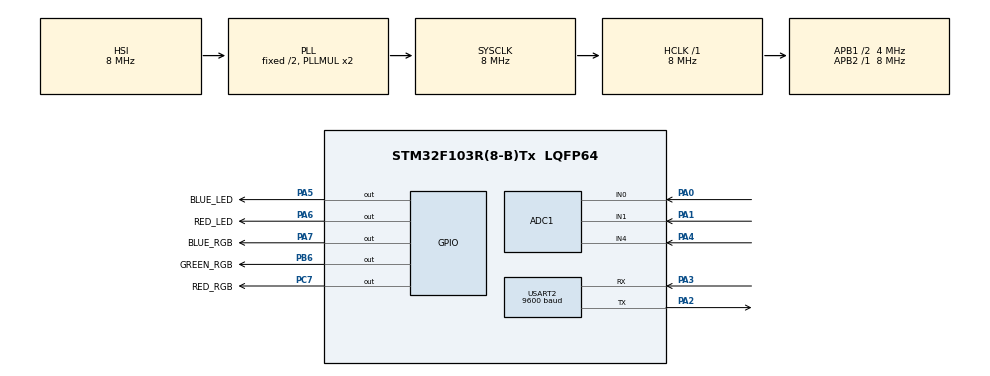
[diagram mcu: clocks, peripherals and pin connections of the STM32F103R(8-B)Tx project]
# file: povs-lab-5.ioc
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ADC1.Channel-1\#ChannelRegularConversion=ADC_CHANNEL_0
ADC1.Channel-2\#ChannelRegularConversion=ADC_CHANNEL_1
ADC1.Channel-3\#ChannelRegularConversion=ADC_CHANNEL_4
ADC1.ContinuousConvMode=ENABLE
ADC1.NbrOfConversion=3
ADC1.NbrOfConversionFlag=1
ADC1.Rank-1\#ChannelRegularConversion=1
ADC1.Rank-2\#ChannelRegularConversion=2
ADC1.Rank-3\#ChannelRegularConversion=3
ADC1.SamplingTime-1\#ChannelRegularConversion=ADC_SAMPLETIME_239CYCLES_5
ADC1.SamplingTime-2\#ChannelRegularConversion=ADC_SAMPLETIME_239CYCLES_5
ADC1.SamplingTime-3\#ChannelRegularConversion=ADC_SAMPLETIME_239CYCLES_5
ADC1.master=1
Dma.ADC1.0.Direction=DMA_PERIPH_TO_MEMORY
Dma.ADC1.0.Instance=DMA1_Channel1
Dma.ADC1.0.MemDataAlignment=DMA_MDATAALIGN_WORD
Dma.ADC1.0.MemInc=DMA_MINC_ENABLE
Dma.ADC1.0.Mode=DMA_CIRCULAR
Dma.ADC1.0.PeriphDataAlignment=DMA_PDATAALIGN_WORD
Dma.ADC1.0.PeriphInc=DMA_PINC_DISABLE
Dma.ADC1.0.Priority=DMA_PRIORITY_LOW
Dma.Request0=ADC1
Dma.Request1=USART2_RX
Dma.USART2_RX.1.Direction=DMA_PERIPH_TO_MEMORY
Dma.USART2_RX.1.Instance=DMA1_Channel6
Dma.USART2_RX.1.MemDataAlignment=DMA_MDATAALIGN_BYTE
Dma.USART2_RX.1.MemInc=DMA_MINC_ENABLE
Dma.USART2_RX.1.Mode=DMA_CIRCULAR
Dma.USART2_RX.1.PeriphDataAlignment=DMA_PDATAALIGN_BYTE
Dma.USART2_RX.1.PeriphInc=DMA_PINC_DISABLE
Dma.USART2_RX.1.Priority=DMA_PRIORITY_LOW
Mcu.Family=STM32F1
Mcu.Name=STM32F103R(8-B)Tx
Mcu.Package=LQFP64
NVIC.ADC1_2_IRQn=true\:0\:0\:false\:false\:true\:true\:true\:true
NVIC.DMA1_Channel1_IRQn=true\:0\:0\:false\:false\:true\:false\:true\:true
NVIC.DMA1_Channel6_IRQn=true\:0\:0\:false\:false\:true\:false\:true\:true
NVIC.PriorityGroup=NVIC_PRIORITYGROUP_4
NVIC.USART2_IRQn=true\:0\:0\:false\:false\:true\:true\:true\:true
PA0-WKUP.Signal=ADCx_IN0
PA1.Signal=ADCx_IN1
PA2.GPIO_Mode=GPIO_MODE_AF_PP
PA2.GPIO_PuPd=GPIO_NOPULL
PA2.GPIO_Speed=GPIO_SPEED_FREQ_HIGH
PA2.Mode=Asynchronous
PA2.Signal=USART2_TX
PA3.GPIO_Mode=GPIO_MODE_INPUT
PA3.GPIO_PuPd=GPIO_NOPULL
PA3.GPIO_Speed=GPIO_SPEED_FREQ_LOW
PA3.Mode=Asynchronous
PA3.Signal=USART2_RX
PA4.Signal=ADCx_IN4
PA5.GPIO_Label=BLUE_LED
PA5.Signal=GPIO_Output
PA6.GPIO_Label=RED_LED
PA6.Signal=GPIO_Output
PA7.GPIO_Label=BLUE_RGB
PA7.Signal=GPIO_Output
PB6.GPIO_Label=GREEN_RGB
PB6.Signal=GPIO_Output
PC7.GPIO_Label=RED_RGB
PC7.Signal=GPIO_Output
ProjectManager.HeapSize=0x200
ProjectManager.StackSize=0x400
ProjectManager.TargetToolchain=MDK-ARM V5.32
RCC.AHBFreq_Value=8000000
RCC.APB1CLKDivider=RCC_HCLK_DIV2
RCC.APB1Freq_Value=4000000
RCC.APB1TimFreq_Value=8000000
RCC.APB2Freq_Value=8000000
RCC.APB2TimFreq_Value=8000000
RCC.HCLKFreq_Value=8000000
RCC.RTCClockSelection=RCC_RTCCLKSOURCE_LSE
RCC.SYSCLKFreq_VALUE=8000000
RCC.SYSCLKSource=RCC_SYSCLKSOURCE_PLLCLK
RCC.USBFreq_Value=8000000
SH.ADCx_IN0.0=ADC1_IN0,IN0
SH.ADCx_IN1.0=ADC1_IN1,IN1
SH.ADCx_IN4.0=ADC1_IN4,IN4
USART2.BaudRate=9600
USART2.VirtualMode=VM_ASYNC
VP_SYS_VS_ND.Mode=No_Debug
board=NUCLEO-F103RB

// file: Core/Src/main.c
/* USER CODE BEGIN Header */
/**
  ******************************************************************************
  * @file           : main.c
  * @brief          : Main program body
  ******************************************************************************
  * @attention
  *
  * Copyright (c) 2022 STMicroelectronics.
  * All rights reserved.
  *
  * This software is licensed under terms that can be found in the LICENSE file
  * in the root directory of this software component.
  * If no LICENSE file comes with this software, it is provided AS-IS.
  *
  ******************************************************************************
  */
/* USER CODE END Header */
#include "main.h"

/* USER CODE BEGIN Includes */
#include "string.h"
#include "stdio.h"
/* USER CODE END Includes */

/* USER CODE BEGIN PD */
#define BUFFER_SIZE 80
#define LIGHT_SCALE 4095
#define POTENTIOMETER_SCALE 4095
#define TEMPERATURE_SCALE 12.285
#define MIN_TEMPERATURE_VAL 15.0
#define DEFAULT_DELAY 1000
#define DETAINED_DELAY 3000
/* USER CODE END PD */

ADC_HandleTypeDef hadc1;
DMA_HandleTypeDef hdma_adc1;

UART_HandleTypeDef huart2;
DMA_HandleTypeDef hdma_usart2_rx;

void SystemClock_Config(void);
static void MX_GPIO_Init(void);
static void MX_DMA_Init(void);
static void MX_ADC1_Init(void);
static void MX_USART2_UART_Init(void);
/* USER CODE BEGIN PFP */
void setTemperatureLedByPortAndPin(GPIO_TypeDef* port, uint8_t pin);
void setLightRGBByPortAndPin(GPIO_TypeDef* port, uint8_t pin);
/* USER CODE END PFP */

/* USER CODE BEGIN 0 */
uint8_t rxData[5] = {0};
void HAL_UART_RxCpltCallback(UART_HandleTypeDef *huart)
{
  HAL_UART_Receive_DMA(&huart2, rxData, 5);
}

void setTemperatureLed(float temperature)
{
	if (temperature < MIN_TEMPERATURE_VAL) {
			setTemperatureLedByPortAndPin(BLUE_LED_GPIO_Port, BLUE_LED_Pin);
		} else {
			setTemperatureLedByPortAndPin(RED_LED_GPIO_Port, RED_LED_Pin);
		}
}

void resetTemperatureLed() {
	HAL_GPIO_WritePin(RED_LED_GPIO_Port, RED_LED_Pin, GPIO_PIN_RESET);
	HAL_GPIO_WritePin(BLUE_LED_GPIO_Port, BLUE_LED_Pin, GPIO_PIN_RESET);
}

void setLightRGBLed(float light)
{
	if(light > 90) {
		setLightRGBByPortAndPin(RED_RGB_GPIO_Port, RED_RGB_Pin);
	} else if(light > 30 && light < 90) {
		setLightRGBByPortAndPin(GREEN_RGB_GPIO_Port, GREEN_RGB_Pin);
	 } else {
		setLightRGBByPortAndPin(BLUE_RGB_GPIO_Port, BLUE_RGB_Pin);
	 }
}

void setTemperatureLedByPortAndPin(GPIO_TypeDef* port, uint8_t pin) {
  HAL_GPIO_WritePin(RED_LED_GPIO_Port, RED_LED_Pin, GPIO_PIN_RESET);
	HAL_GPIO_WritePin(BLUE_LED_GPIO_Port, BLUE_LED_Pin, GPIO_PIN_RESET);
	HAL_GPIO_WritePin(port, pin, GPIO_PIN_SET);
}

void setLightRGBByPortAndPin(GPIO_TypeDef* port, uint8_t pin) {
  HAL_GPIO_WritePin(RED_RGB_GPIO_Port, RED_RGB_Pin, GPIO_PIN_RESET);
	HAL_GPIO_WritePin(GREEN_RGB_GPIO_Port, GREEN_RGB_Pin, GPIO_PIN_RESET);
  HAL_GPIO_WritePin(BLUE_RGB_GPIO_Port, BLUE_RGB_Pin, GPIO_PIN_RESET);
	HAL_GPIO_WritePin(port, pin, GPIO_PIN_SET);
}
/* USER CODE END 0 */

int main(void)
{

  /* MCU Configuration--------------------------------------------------------*/

  /* Reset of all peripherals, Initializes the Flash interface and the Systick. */
  HAL_Init();

  /* Configure the system clock */
  SystemClock_Config();

  /* Initialize all configured peripherals */
  MX_GPIO_Init();
  MX_DMA_Init();
  MX_ADC1_Init();
  MX_USART2_UART_Init();
  /* USER CODE BEGIN 2 */
	uint32_t delay = DEFAULT_DELAY;
	uint32_t adcBuffer[3];
	HAL_ADC_Start_DMA(&hadc1, adcBuffer, 3);
	HAL_UART_Receive_DMA(&huart2, rxData, 5);
  /* USER CODE END 2 */

  /* Infinite loop */
  /* USER CODE BEGIN WHILE */
	char msg_line[BUFFER_SIZE];
	char potentiometer_line[BUFFER_SIZE];
	char light_line[BUFFER_SIZE];
	char temperature_line[BUFFER_SIZE];

	char tx_msg_format[] = "%s|%s|%s\n";
	char tx_val_format[] = "%.2f";
	char empty_val[] = "empty";
	char tx_empty_val_format[] = "%s";
  while (1)
  {
    /* USER CODE END WHILE */

    /* USER CODE BEGIN 3 */
		float potentiometer = adcBuffer[0] * 100 / POTENTIOMETER_SCALE;
		float light = adcBuffer[1] * 100 / LIGHT_SCALE;
		float temperature = adcBuffer[2] / TEMPERATURE_SCALE;

		setLightRGBLed(light);

		if (rxData[1] == 1) {
			snprintf(light_line, BUFFER_SIZE, tx_val_format, light);
		} else {
			snprintf(light_line, BUFFER_SIZE, tx_empty_val_format, empty_val);
		}

		if (rxData[2] == 1) {
			snprintf(potentiometer_line, BUFFER_SIZE, tx_val_format, potentiometer);
		} else {
			snprintf(potentiometer_line, BUFFER_SIZE, tx_empty_val_format, empty_val);
		}

		if (rxData[3] == 1) {
			snprintf(temperature_line, BUFFER_SIZE, tx_val_format, temperature);
			setTemperatureLed(temperature);
		} else {
			snprintf(temperature_line, BUFFER_SIZE, tx_empty_val_format, empty_val);
			resetTemperatureLed();
		}

		if (rxData[4] == 1) {
			delay = DETAINED_DELAY;
		} else {
			delay = DEFAULT_DELAY;
		}

		snprintf(msg_line, BUFFER_SIZE, tx_msg_format, light_line, potentiometer_line, temperature_line);
		HAL_UART_Transmit(&huart2, (uint8_t *) msg_line, strlen(msg_line), HAL_MAX_DELAY);
		HAL_Delay(delay);
	}
  /* USER CODE END 3 */
}

void SystemClock_Config(void)
{
  RCC_OscInitTypeDef RCC_OscInitStruct = {0};
  RCC_ClkInitTypeDef RCC_ClkInitStruct = {0};
  RCC_PeriphCLKInitTypeDef PeriphClkInit = {0};

  /** Initializes the RCC Oscillators according to the specified parameters
  * in the RCC_OscInitTypeDef structure.
  */
  RCC_OscInitStruct.OscillatorType = RCC_OSCILLATORTYPE_HSI;
  RCC_OscInitStruct.HSIState = RCC_HSI_ON;
  RCC_OscInitStruct.HSICalibrationValue = RCC_HSICALIBRATION_DEFAULT;
  RCC_OscInitStruct.PLL.PLLState = RCC_PLL_ON;
  RCC_OscInitStruct.PLL.PLLSource = RCC_PLLSOURCE_HSI_DIV2;
  RCC_OscInitStruct.PLL.PLLMUL = RCC_PLL_MUL2;
  if (HAL_RCC_OscConfig(&RCC_OscInitStruct) != HAL_OK)
  {
    Error_Handler();
  }

  /** Initializes the CPU, AHB and APB buses clocks
  */
  RCC_ClkInitStruct.ClockType = RCC_CLOCKTYPE_HCLK|RCC_CLOCKTYPE_SYSCLK
                              |RCC_CLOCKTYPE_PCLK1|RCC_CLOCKTYPE_PCLK2;
  RCC_ClkInitStruct.SYSCLKSource = RCC_SYSCLKSOURCE_PLLCLK;
  RCC_ClkInitStruct.AHBCLKDivider = RCC_SYSCLK_DIV1;
  RCC_ClkInitStruct.APB1CLKDivider = RCC_HCLK_DIV2;
  RCC_ClkInitStruct.APB2CLKDivider = RCC_HCLK_DIV1;

  if (HAL_RCC_ClockConfig(&RCC_ClkInitStruct, FLASH_LATENCY_0) != HAL_OK)
  {
    Error_Handler();
  }
  PeriphClkInit.PeriphClockSelection = RCC_PERIPHCLK_ADC;
  PeriphClkInit.AdcClockSelection = RCC_ADCPCLK2_DIV2;
  if (HAL_RCCEx_PeriphCLKConfig(&PeriphClkInit) != HAL_OK)
  {
    Error_Handler();
  }
}

static void MX_ADC1_Init(void)
{

  ADC_ChannelConfTypeDef sConfig = {0};

  /** Common config
  */
  hadc1.Instance = ADC1;
  hadc1.Init.ScanConvMode = ADC_SCAN_ENABLE;
  hadc1.Init.ContinuousConvMode = ENABLE;
  hadc1.Init.DiscontinuousConvMode = DISABLE;
  hadc1.Init.ExternalTrigConv = ADC_SOFTWARE_START;
  hadc1.Init.DataAlign = ADC_DATAALIGN_RIGHT;
  hadc1.Init.NbrOfConversion = 3;
  if (HAL_ADC_Init(&hadc1) != HAL_OK)
  {
    Error_Handler();
  }

  /** Configure Regular Channel
  */
  sConfig.Channel = ADC_CHANNEL_0;
  sConfig.Rank = ADC_REGULAR_RANK_1;
  sConfig.SamplingTime = ADC_SAMPLETIME_239CYCLES_5;
  if (HAL_ADC_ConfigChannel(&hadc1, &sConfig) != HAL_OK)
  {
    Error_Handler();
  }

  /** Configure Regular Channel
  */
  sConfig.Channel = ADC_CHANNEL_1;
  sConfig.Rank = ADC_REGULAR_RANK_2;
  if (HAL_ADC_ConfigChannel(&hadc1, &sConfig) != HAL_OK)
  {
    Error_Handler();
  }

  /** Configure Regular Channel
  */
  sConfig.Channel = ADC_CHANNEL_4;
  sConfig.Rank = ADC_REGULAR_RANK_3;
  if (HAL_ADC_ConfigChannel(&hadc1, &sConfig) != HAL_OK)
  {
    Error_Handler();
  }

}

static void MX_USART2_UART_Init(void)
{

  huart2.Instance = USART2;
  huart2.Init.BaudRate = 9600;
  huart2.Init.WordLength = UART_WORDLENGTH_8B;
  huart2.Init.StopBits = UART_STOPBITS_1;
  huart2.Init.Parity = UART_PARITY_NONE;
  huart2.Init.Mode = UART_MODE_TX_RX;
  huart2.Init.HwFlowCtl = UART_HWCONTROL_NONE;
  huart2.Init.OverSampling = UART_OVERSAMPLING_16;
  if (HAL_UART_Init(&huart2) != HAL_OK)
  {
    Error_Handler();
  }

}

static void MX_DMA_Init(void)
{

  /* DMA controller clock enable */
  __HAL_RCC_DMA1_CLK_ENABLE();

  /* DMA interrupt init */
  /* DMA1_Channel1_IRQn interrupt configuration */
  HAL_NVIC_SetPriority(DMA1_Channel1_IRQn, 0, 0);
  HAL_NVIC_EnableIRQ(DMA1_Channel1_IRQn);
  /* DMA1_Channel6_IRQn interrupt configuration */
  HAL_NVIC_SetPriority(DMA1_Channel6_IRQn, 0, 0);
  HAL_NVIC_EnableIRQ(DMA1_Channel6_IRQn);

}

static void MX_GPIO_Init(void)
{
  GPIO_InitTypeDef GPIO_InitStruct = {0};

  /* GPIO Ports Clock Enable */
  __HAL_RCC_GPIOA_CLK_ENABLE();
  __HAL_RCC_GPIOC_CLK_ENABLE();
  __HAL_RCC_GPIOB_CLK_ENABLE();

  /*Configure GPIO pin Output Level */
  HAL_GPIO_WritePin(GPIOA, BLUE_LED_Pin|RED_LED_Pin|BLUE_RGB_Pin, GPIO_PIN_RESET);

  /*Configure GPIO pin Output Level */
  HAL_GPIO_WritePin(RED_RGB_GPIO_Port, RED_RGB_Pin, GPIO_PIN_RESET);

  /*Configure GPIO pin Output Level */
  HAL_GPIO_WritePin(GREEN_RGB_GPIO_Port, GREEN_RGB_Pin, GPIO_PIN_RESET);

  /*Configure GPIO pins : BLUE_LED_Pin RED_LED_Pin BLUE_RGB_Pin */
  GPIO_InitStruct.Pin = BLUE_LED_Pin|RED_LED_Pin|BLUE_RGB_Pin;
  GPIO_InitStruct.Mode = GPIO_MODE_OUTPUT_PP;
  GPIO_InitStruct.Pull = GPIO_NOPULL;
  GPIO_InitStruct.Speed = GPIO_SPEED_FREQ_LOW;
  HAL_GPIO_Init(GPIOA, &GPIO_InitStruct);

  /*Configure GPIO pin : RED_RGB_Pin */
  GPIO_InitStruct.Pin = RED_RGB_Pin;
  GPIO_InitStruct.Mode = GPIO_MODE_OUTPUT_PP;
  GPIO_InitStruct.Pull = GPIO_NOPULL;
  GPIO_InitStruct.Speed = GPIO_SPEED_FREQ_LOW;
  HAL_GPIO_Init(RED_RGB_GPIO_Port, &GPIO_InitStruct);

  /*Configure GPIO pin : GREEN_RGB_Pin */
  GPIO_InitStruct.Pin = GREEN_RGB_Pin;
  GPIO_InitStruct.Mode = GPIO_MODE_OUTPUT_PP;
  GPIO_InitStruct.Pull = GPIO_NOPULL;
  GPIO_InitStruct.Speed = GPIO_SPEED_FREQ_LOW;
  HAL_GPIO_Init(GREEN_RGB_GPIO_Port, &GPIO_InitStruct);

}

void Error_Handler(void)
{
  __disable_irq();
  while (1)
  {
  }
}
